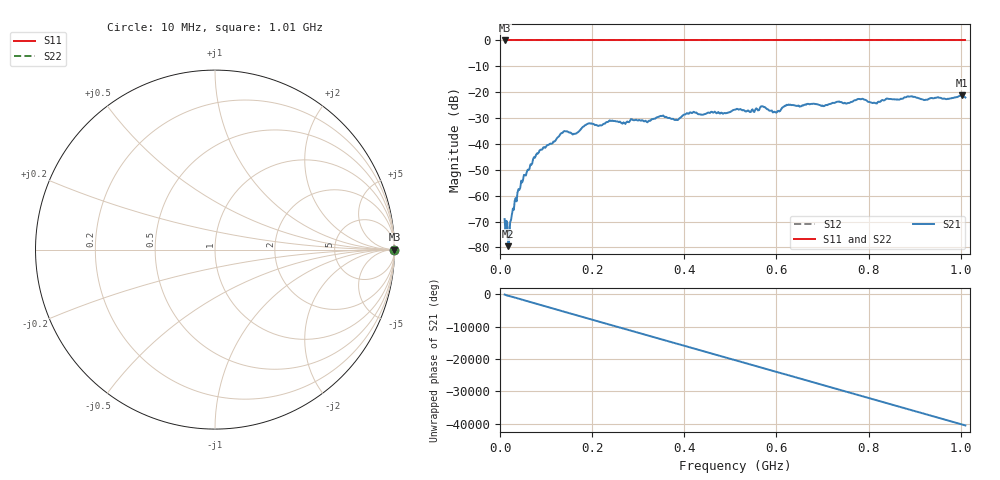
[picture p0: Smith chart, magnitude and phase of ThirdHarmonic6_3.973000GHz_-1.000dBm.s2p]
! 8/17/2025 2:08:07 PM
! C:\ANRITSUVNA\TEMP\TEMP.S2P
! CHANNEL.1
! TR.MEASUREMENT
! RAW.DATA
! RF.CORRECTION.OFF
! AVERAGING.OFF
! IF.BANDWIDTH: 5KHZ
! SWEEPTYPE:  FREQ.SWEEP(Linear)
! Reference Plane Port Info
! PORT:  PORT1  PORT2
! DISTANCE:  0  m  0  m
! TIME:  0  s  0  s
! PHASE.OFFSET:  0  deg.  0  deg.
! LOSS:  0  dB  0  dB
! REF.LOSS:  0  dB  0  dB
! REF.FREQ:  0  Hz  0  Hz
! Power Info
! POWER:  -20  dBm  -20  dBm
! EFF.POWER:  -20  dBm  -20  dBm
! SOURCE.ATTEN:  0  dB  0  dB
! TEST.ATTEN:  0  dB  0  dB
# GHZ S RI R 50.0
! FREQ.GHZ  S11RE  S11IM  S21RE  S21IM  S12RE  S12IM  S22RE  S22IM
!; PortSelection: Port_12
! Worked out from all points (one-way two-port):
!   501 points, 10 MHz to 1.01 GHz, reference 50 ohm
!   highest |S21| = -21.25 dB at 1.002 GHz (marker M1); lowest = -79.5 dB at 18 MHz (marker M2)
!   lowest |S11| = 0.0 dB at 10 MHz (marker M3)
!   |S11| at or under -10 dB: nowhere
!   |S22| runs from 0.0 to 0.0 dB; largest |S21 - S12| = 1.1
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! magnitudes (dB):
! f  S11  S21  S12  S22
! 10 MHz  0.0  -69.0  0.0  0.0
! 16 MHz  0.0  -70.8  0.0  0.0
! 18 MHz  0.0  -79.5  0.0  0.0
! 22 MHz  0.0  -70.3  0.0  0.0
! 30 MHz  0.0  -65.4  0.0  0.0
! 42 MHz  0.0  -57.7  0.0  0.0
! 76 MHz  0.0  -45.3  0.0  0.0
! 136 MHz  0.0  -35.7  0.0  0.0
! 162 MHz  0.0  -36.1  0.0  0.0
! 178 MHz  0.0  -33.7  0.0  0.0
! 194 MHz  0.0  -32.0  0.0  0.0
! 344 MHz  0.0  -29.5  0.0  0.0
! 382 MHz  0.0  -30.5  0.0  0.0
! 416 MHz  0.0  -28.1  0.0  0.0
! 510 MHz  0.0  -26.7  0.0  0.0
! 570 MHz  0.0  -25.4  0.0  0.0
! 596 MHz  0.0  -27.5  0.0  0.0
! 626 MHz  0.0  -24.8  0.0  0.0
! 678 MHz  0.0  -24.5  0.0  0.0
! 844 MHz  0.0  -22.6  0.0  0.0
! 1.002 GHz  0.0  -21.3  0.0  0.0
! 1.01 GHz  0.0  -22.0  0.0  0.0
